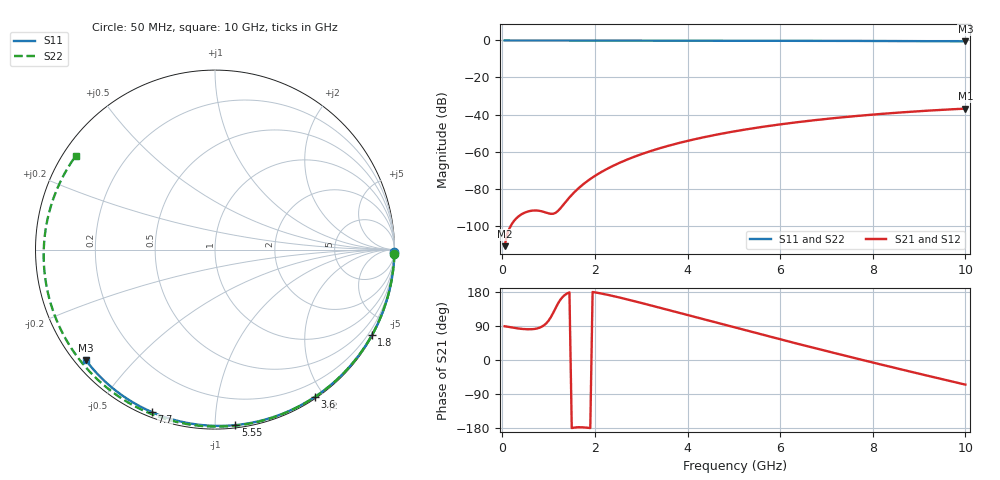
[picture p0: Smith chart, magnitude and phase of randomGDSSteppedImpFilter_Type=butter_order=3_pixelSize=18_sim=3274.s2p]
! freq	dB(S11)	phase(S11)	dB(S12)	phase(S12)
!  dB(S21)	phase(S21)	dB(S22)	phase(S22)
!S-par simulation data
#  GHz  S  DB  R 50
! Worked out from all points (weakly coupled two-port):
!   200 points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, 50 MHz to 10 GHz, reference 50 ohm
!   highest |S21| = -36.81 dB at 10 GHz (marker M1); lowest = -111.1 dB at 50 MHz (marker M2)
!   lowest |S11| = -0.5 dB at 10 GHz (marker M3), VSWR 36.84, Z = 1.54 - j18.4 ohm
!   |S11| at or under -10 dB: nowhere
!   |S22| runs from -0.6 to 0.0 dB; largest |S21 - S12| = 0
!   S11 on the Smith chart (normalised r, x): 50 MHz: open; 1.8 GHz: 0.03, -3.92; 3.6 GHz: 0.02, -1.88; 5.55 GHz: 0.02, -1.12; 7.7 GHz: 0.02, -0.68; 10 GHz: 0.03, -0.37
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0.05  -0.00 -0.8  -111.09 89.1  -111.09 89.1  -0.00 -1.3
0.4  -0.01 -6.4  -94.11 82.3  -94.11 82.3  -0.01 -10.4
0.8  -0.02 -12.8  -92.00 85.0  -92.00 85.0  -0.03 -20.8
1.6  -0.03 -25.5  -80.89 -177.7  -80.89 -177.7  -0.05 -41.0
1.65  -0.03 -26.3  -79.74 -177.4  -79.74 -177.4  -0.05 -42.3
1.75  -0.04 -27.8  -77.62 -177.7  -77.62 -177.7  -0.06 -44.7
1.8  -0.04 -28.6  -76.64 -178.2  -76.64 -178.2  -0.06 -45.9
2.1  -0.04 -33.3  -71.61 176.4  -71.61 176.4  -0.07 -53.2
2.5  -0.05 -39.4  -66.44 165.8  -66.44 165.8  -0.08 -62.8
2.9  -0.06 -45.5  -62.35 153.7  -62.35 153.7  -0.09 -72.0
3.4  -0.07 -52.9  -58.22 137.9  -58.22 137.9  -0.11 -83.3
3.6  -0.08 -55.9  -56.79 131.5  -56.79 131.5  -0.11 -87.7
4.3  -0.09 -66.0  -52.54 108.9  -52.54 108.9  -0.14 -102.6
5.05  -0.12 -76.5  -48.93 84.8  -48.93 84.8  -0.17 -117.9
5.55  -0.14 -83.4  -46.92 68.8  -46.92 68.8  -0.20 -127.7
6.15  -0.16 -91.4  -44.84 50.0  -44.84 50.0  -0.24 -139.3
6.7  -0.19 -98.6  -43.18 32.9  -43.18 32.9  -0.27 -149.7
7.2  -0.22 -105.0  -41.86 17.5  -41.86 17.5  -0.31 -159.1
7.7  -0.25 -111.3  -40.68 2.4  -40.68 2.4  -0.35 -168.5
8.35  -0.31 -119.3  -39.34 -17.0  -39.34 -17.0  -0.41 179.1
9.2  -0.38 -129.8  -37.89 -42.0  -37.89 -42.0  -0.50 162.5
10  -0.47 -139.5  -36.81 -65.0  -36.81 -65.0  -0.58 146.1
